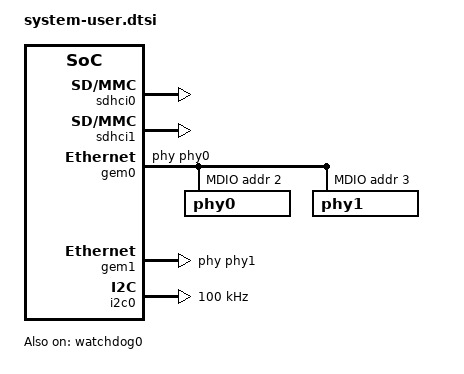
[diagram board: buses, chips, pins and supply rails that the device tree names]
/include/ "system-conf.dtsi"
/ {
chosen {
bootargs = "console=ttyPS0,115200 earlyprintk uio_pdrv_genirq.of_id=generic-uio root=/dev/mmcblk1p2 rw rootwait";
};
	dma_proxy {
		compatible ="xlnx,dma_proxy";
		dmas = <&XG_0_axi_dma_0 0 &XG_0_axi_dma_0 1>;
		dma-names = "dma_proxy_tx", "dma_proxy_rx";
		/*dma-coherent;*/
	};
};

&sdhci0 {
status = "okay";
/*max-frequency = <50000000>;*/
disable-wp;
no-1-8-v;
broken-cd;
};

&sdhci1 {
status = "okay";
/*max-frequency = <50000000>;*/
disable-wp;
no-1-8-v;
broken-cd;
};

&dbg_debug_bridge_0 {
compatible = "generic-uio";
};

&JTAG_axi_jtag_0 {
compatible = "xlnx,xvc";
};

&JTAG_axi_jtag_1 {
compatible = "xlnx,xvc";
};

&gem0 {
phy-handle = <&phy0>;
local-mac-address = [00 0a 35 00 00 02];
mdio {
/*#address-cells = <1>;
#size-cells = <0>;*/
phy0: phy0@2 {
	      reg = <0x2>;
             };
phy1: phy1@3 {
	      reg = <0x3>;
      	     };
};
};

&gem1 {
phy-handle = <&phy1>;
local-mac-address = [00 0a 35 00 00 03];
/*mdio {
#address-cells = <1>;
#size-cells = <0>;*/
/*phy0: phy0@2 {
	      reg = <0x2>;
             };*/
/*phy1: phy1@3 {
	      reg = <0x3>;
             };
};*/
};

&watchdog0 {
status = "okay";
reset-on-timeout;
timeout-sec = <10>;
};

&i2c0 {
	clock-frequency = <100000>;
	status = "okay";
};
